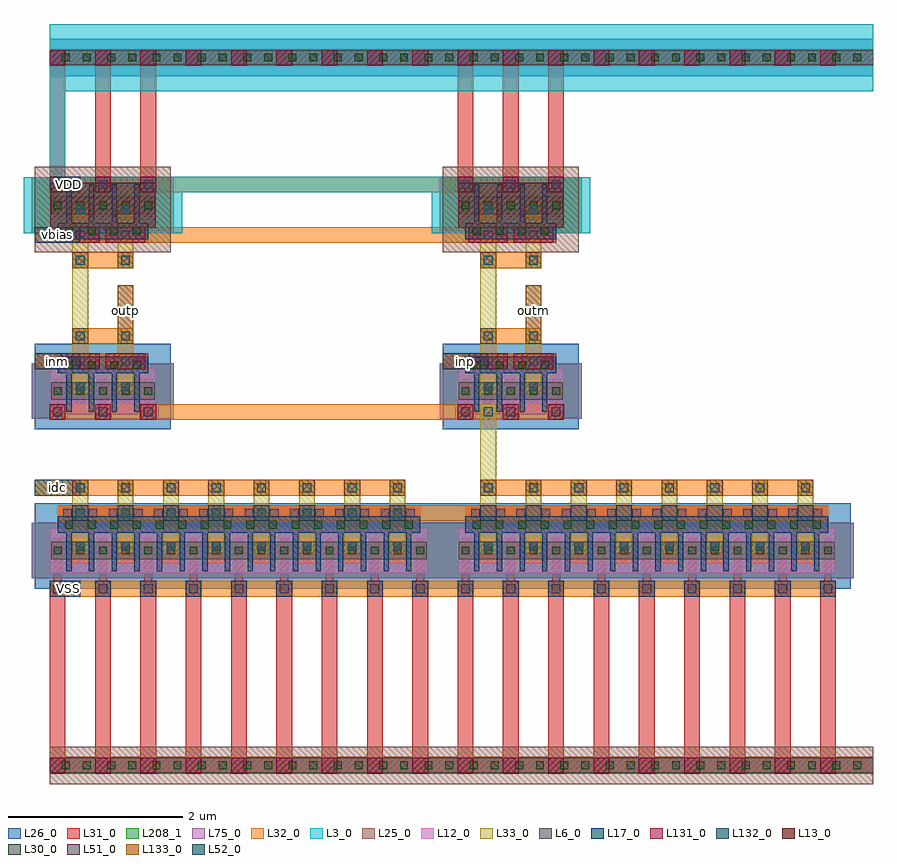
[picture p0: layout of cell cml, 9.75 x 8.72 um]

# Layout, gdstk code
import gdstk
lib = gdstk.Library(unit=1e-6, precision=1e-09)
def R(c, l, rs):  # rectangles x0, y0, x1, y1
    for r in rs: c.add(gdstk.rectangle(r[:2], r[2:], *l))
def A(c, l, x, y, w, h, nx, ny, dx, dy):  # array of equal rectangles
    R(c, l, [(x+i*dx, y+j*dy, x+i*dx+w, y+j*dy+h) for i in range(nx) for j in range(ny)])
L3_0 = (3, 0)
L6_0 = (6, 0)
L12_0 = (12, 0)
L13_0 = (13, 0)
L17_0 = (17, 0)
L25_0 = (25, 0)
L26_0 = (26, 0)
L30_0 = (30, 0)
L31_0 = (31, 0)
L32_0 = (32, 0)
L33_0 = (33, 0)
L51_0 = (51, 0)
L52_0 = (52, 0)
L75_0 = (75, 0)
L131_0 = (131, 0)
L132_0 = (132, 0)
L133_0 = (133, 0)
L208_1 = (208, 1)

nch_lvt_mac__3 = lib.new_cell('nch_lvt_mac$$3')
R(nch_lvt_mac__3, L6_0, [(-0.175,0,0,0.2), (0,0,0.06,0.2), (0.06,0,0.235,0.2)])
R(nch_lvt_mac__3, L12_0, [(-0.185,-0.16,0.245,0.36)])
R(nch_lvt_mac__3, L17_0, [(0,-0.14,0.06,0), (0,0,0.06,0.2), (0,0.2,0.06,0.3), (-0.065,0.3,0.125,0.49)])
R(nch_lvt_mac__3, L26_0, [(-0.305,-0.34,0.365,0.54), (-0.305,0.15,0.365,0.64)])
R(nch_lvt_mac__3, L30_0, [(-0.145,0.055,-0.055,0.145), (0.115,0.055,0.205,0.145), (-0.015,0.35,0.075,0.44)])
R(nch_lvt_mac__3, L31_0, [(-0.145,-0.01,-0.055,0.21), (0.115,-0.01,0.205,0.21)])
R(nch_lvt_mac__3, L75_0, [(-0.395,-0.22,0.455,0.42)])
R(nch_lvt_mac__3, L208_1, [(-0.395,-0.22,0.455,0.42)])
nch_lvt_mac__3.add(gdstk.FlexPath([(-0.065,0.395),(0.125,0.395)], 0.09, ends="flush", simple_path=True, layer=31, datatype=0))  # L31_0
nch_lvt_mac__3.add(gdstk.Label('& SerialNumber 000000', (0,0), layer=63, texttype=63))
nch_lvt_mac__3.add(gdstk.Label('& Distributor TSMC', (0,0), layer=63, texttype=63))
nch_lvt_mac__3.add(gdstk.Label('& Metric 1', (0,0), layer=63, texttype=63))
nch_lvt_mac__3.add(gdstk.Label('& PDK TechNode "CRN65LP"', (0,0), layer=63, texttype=63))
nch_lvt_mac__3.add(gdstk.Label('& Product    tsmcN65_PDK', (0,0), layer=63, texttype=63))
nch_lvt_mac__3.add(gdstk.Label('& Vendor     Taiwan Semiconductor manufacturing Corp.', (0,0), layer=63, texttype=63))
nch_lvt_mac__3.add(gdstk.Label('[@instanceName]', (0.03,0.1), layer=127, texttype=0))
nch_lvt_mac__3.add(gdstk.Label('nch_lvt_mac\n0.2/0.06\n', (0,0), layer=127, texttype=0))
nch_lvt_mac__3.add(gdstk.Label('D', (0.16,0.1), layer=127, texttype=0))
nch_lvt_mac__3.add(gdstk.Label('S', (-0.1,0.1), layer=127, texttype=0))

nch_lvt_mac__4 = lib.new_cell('nch_lvt_mac$$4')
R(nch_lvt_mac__4, L6_0, [(-0.175,0,0,0.2), (0,0,0.06,0.2), (0.06,0,0.235,0.2)])
R(nch_lvt_mac__4, L12_0, [(-0.185,-0.16,0.245,0.36)])
R(nch_lvt_mac__4, L17_0, [(0,-0.14,0.06,0), (0,0,0.06,0.2), (0,0.2,0.06,0.3), (-0.065,0.3,0.125,0.49)])
R(nch_lvt_mac__4, L26_0, [(-0.305,-0.34,0.365,0.54), (-0.305,0.15,0.365,0.64)])
R(nch_lvt_mac__4, L30_0, [(-0.145,0.055,-0.055,0.145), (0.115,0.055,0.205,0.145), (-0.015,0.35,0.075,0.44)])
R(nch_lvt_mac__4, L31_0, [(-0.145,-0.01,-0.055,0.21), (0.115,-0.01,0.205,0.21)])
R(nch_lvt_mac__4, L75_0, [(-0.395,-0.22,0.455,0.42)])
R(nch_lvt_mac__4, L208_1, [(-0.395,-0.22,0.455,0.42)])
nch_lvt_mac__4.add(gdstk.FlexPath([(-0.065,0.395),(0.125,0.395)], 0.09, ends="flush", simple_path=True, layer=31, datatype=0))  # L31_0
nch_lvt_mac__4.add(gdstk.Label('& SerialNumber 000000', (0,0), layer=63, texttype=63))
nch_lvt_mac__4.add(gdstk.Label('& Distributor TSMC', (0,0), layer=63, texttype=63))
nch_lvt_mac__4.add(gdstk.Label('& Metric 1', (0,0), layer=63, texttype=63))
nch_lvt_mac__4.add(gdstk.Label('& PDK TechNode "CRN65LP"', (0,0), layer=63, texttype=63))
nch_lvt_mac__4.add(gdstk.Label('& Product    tsmcN65_PDK', (0,0), layer=63, texttype=63))
nch_lvt_mac__4.add(gdstk.Label('& Vendor     Taiwan Semiconductor manufacturing Corp.', (0,0), layer=63, texttype=63))
nch_lvt_mac__4.add(gdstk.Label('[@instanceName]', (0.03,0.1), layer=127, texttype=0))
nch_lvt_mac__4.add(gdstk.Label('nch_lvt_mac\n0.2/0.06\n', (0,0), layer=127, texttype=0))
nch_lvt_mac__4.add(gdstk.Label('S', (0.16,0.1), layer=127, texttype=0))
nch_lvt_mac__4.add(gdstk.Label('D', (-0.1,0.1), layer=127, texttype=0))

m2_m1__1 = lib.new_cell('M2_M1$$1')
R(m2_m1__1, L31_0, [(-0.09,-0.09,0.09,0.09)])
R(m2_m1__1, L32_0, [(-0.09,-0.09,0.09,0.09)])
R(m2_m1__1, L51_0, [(-0.05,-0.05,0.05,0.05)])

m3_m2__2 = lib.new_cell('M3_M2$$2')
R(m3_m2__2, L32_0, [(-0.09,-0.09,0.09,0.09)])
R(m3_m2__2, L33_0, [(-0.09,-0.09,0.09,0.09)])
R(m3_m2__2, L52_0, [(-0.05,-0.05,0.05,0.05)])

currentmirror_ref_n = lib.new_cell('currentmirror_ref_n')
R(currentmirror_ref_n, L17_0, [(0,0.64,0.52,0.83)])
R(currentmirror_ref_n, L26_0, [(-0.26,0,-0.205,0.98), (0.725,0,0.78,0.98)])
R(currentmirror_ref_n, L31_0, [(-0.045,-0.09,0.045,0.58), (0.475,-0.09,0.565,0.58), (0.21,0.3,0.31,0.58), (0,0.69,0.52,0.96), (0,0.78,0.52,0.96)])
R(currentmirror_ref_n, L32_0, [(0,-0.09,0.52,0.09), (0.17,0.29,0.35,0.58), (0,0.78,0.52,0.96)])
R(currentmirror_ref_n, L33_0, [(0.17,0.4,0.35,1.25)])
R(currentmirror_ref_n, L132_0, [(-0.09,-0.09,0.09,0.09), (0.43,-0.09,0.61,0.09), (0.17,0.78,0.35,0.96)])
R(currentmirror_ref_n, L133_0, [(0.17,1.07,0.35,1.25)])
currentmirror_ref_n.add(gdstk.Reference(nch_lvt_mac__3, (0.1,0.34)))
currentmirror_ref_n.add(gdstk.Reference(nch_lvt_mac__4, (0.36,0.34)))
currentmirror_ref_n.add(gdstk.Reference(m2_m1__1, (0.26,0.49)))
currentmirror_ref_n.add(gdstk.Reference(m2_m1__1, (0,0)))
currentmirror_ref_n.add(gdstk.Reference(m2_m1__1, (0.52,0)))
currentmirror_ref_n.add(gdstk.Reference(m2_m1__1, (0.115,0.87)))
currentmirror_ref_n.add(gdstk.Reference(m2_m1__1, (0.405,0.87)))
currentmirror_ref_n.add(gdstk.Reference(m3_m2__2, (0.26,0.49)))
currentmirror_ref_n.add(gdstk.Reference(m3_m2__2, (0.26,0.87)))
currentmirror_ref_n.add(gdstk.Label('S1', (0.52,0), layer=132, texttype=0))
currentmirror_ref_n.add(gdstk.Label('S0', (0,0), layer=132, texttype=0))
currentmirror_ref_n.add(gdstk.Label('G', (0.26,0.87), layer=132, texttype=0))
currentmirror_ref_n.add(gdstk.Label('D', (0.26,1.16), layer=133, texttype=0))

currentmirror_single_n = lib.new_cell('currentmirror_single_n')
R(currentmirror_single_n, L17_0, [(0,0.64,0.52,0.83)])
R(currentmirror_single_n, L26_0, [(-0.26,0,-0.205,0.98), (0.725,0,0.78,0.98)])
R(currentmirror_single_n, L31_0, [(-0.045,-0.09,0.045,0.58), (0.475,-0.09,0.565,0.58), (0.21,0.3,0.31,0.58), (0,0.69,0.52,0.96), (0,0.78,0.52,0.96)])
R(currentmirror_single_n, L32_0, [(0,-0.09,0.52,0.09), (0.17,0.29,0.35,0.58), (0,0.78,0.52,0.96)])
R(currentmirror_single_n, L33_0, [(0.17,0.4,0.35,1.25)])
R(currentmirror_single_n, L132_0, [(-0.09,-0.09,0.09,0.09), (0.43,-0.09,0.61,0.09), (0.17,0.78,0.35,0.96)])
R(currentmirror_single_n, L133_0, [(0.17,1.07,0.35,1.25)])
currentmirror_single_n.add(gdstk.Reference(nch_lvt_mac__4, (0.36,0.34)))
currentmirror_single_n.add(gdstk.Reference(nch_lvt_mac__3, (0.1,0.34)))
currentmirror_single_n.add(gdstk.Reference(m2_m1__1, (0.405,0.87)))
currentmirror_single_n.add(gdstk.Reference(m2_m1__1, (0.115,0.87)))
currentmirror_single_n.add(gdstk.Reference(m2_m1__1, (0.52,0)))
currentmirror_single_n.add(gdstk.Reference(m2_m1__1, (0,0)))
currentmirror_single_n.add(gdstk.Reference(m2_m1__1, (0.26,0.49)))
currentmirror_single_n.add(gdstk.Reference(m3_m2__2, (0.26,0.49)))
currentmirror_single_n.add(gdstk.Label('S1', (0.52,0), layer=132, texttype=0))
currentmirror_single_n.add(gdstk.Label('G', (0.26,0.87), layer=132, texttype=0))
currentmirror_single_n.add(gdstk.Label('S0', (0,0), layer=132, texttype=0))
currentmirror_single_n.add(gdstk.Label('D', (0.26,1.16), layer=133, texttype=0))

diffpair_two_finger_n = lib.new_cell('diffpair_two_finger_n')
R(diffpair_two_finger_n, L17_0, [(0,0.44,0.52,0.63)])
R(diffpair_two_finger_n, L26_0, [(-0.26,-0.2,-0.205,0.78), (0.725,-0.2,0.78,0.78)])
R(diffpair_two_finger_n, L31_0, [(-0.045,-0.09,0.045,0.38), (0.475,-0.09,0.565,0.38), (0.21,0.1,0.31,0.38), (0,0.49,0.52,0.67)])
R(diffpair_two_finger_n, L32_0, [(0.115,0.2,0.405,0.38)])
R(diffpair_two_finger_n, L33_0, [(0.17,0.2,0.35,0.96)])
R(diffpair_two_finger_n, L131_0, [(-0.09,-0.09,0.09,0.09), (0.43,-0.09,0.61,0.09), (0.035,0.49,0.485,0.67)])
R(diffpair_two_finger_n, L133_0, [(0.17,0.78,0.35,0.96)])
diffpair_two_finger_n.add(gdstk.Reference(nch_lvt_mac__4, (0.36,0.14)))
diffpair_two_finger_n.add(gdstk.Reference(nch_lvt_mac__3, (0.1,0.14)))
diffpair_two_finger_n.add(gdstk.Reference(m3_m2__2, (0.26,0.29)))
diffpair_two_finger_n.add(gdstk.Reference(m2_m1__1, (0.52,0)))
diffpair_two_finger_n.add(gdstk.Reference(m2_m1__1, (0,0)))
diffpair_two_finger_n.add(gdstk.Reference(m2_m1__1, (0.26,0.29)))
diffpair_two_finger_n.add(gdstk.Label('S0', (0,0), layer=131, texttype=0))
diffpair_two_finger_n.add(gdstk.Label('S1', (0.52,0), layer=131, texttype=0))
diffpair_two_finger_n.add(gdstk.Label('G', (0.26,0.58), layer=131, texttype=0))
diffpair_two_finger_n.add(gdstk.Label('D', (0.26,0.87), layer=133, texttype=0))

pch_lvt_mac__5 = lib.new_cell('pch_lvt_mac$$5')
R(pch_lvt_mac__5, L3_0, [(-0.395,-0.22,0.455,0.42)])
R(pch_lvt_mac__5, L6_0, [(-0.175,0,0,0.2), (0,0,0.06,0.2), (0.06,0,0.235,0.2)])
R(pch_lvt_mac__5, L13_0, [(-0.185,-0.16,0.245,0.36)])
R(pch_lvt_mac__5, L17_0, [(-0.065,-0.29,0.125,-0.1), (0,-0.1,0.06,0), (0,0,0.06,0.2), (0,0.2,0.06,0.34)])
R(pch_lvt_mac__5, L25_0, [(-0.305,-0.44,0.365,0.05), (-0.305,-0.34,0.365,0.54)])
R(pch_lvt_mac__5, L30_0, [(-0.015,-0.24,0.075,-0.15), (-0.145,0.055,-0.055,0.145), (0.115,0.055,0.205,0.145)])
R(pch_lvt_mac__5, L31_0, [(-0.145,-0.01,-0.055,0.21), (0.115,-0.01,0.205,0.21)])
R(pch_lvt_mac__5, L208_1, [(-0.395,-0.22,0.455,0.42)])
pch_lvt_mac__5.add(gdstk.FlexPath([(-0.065,-0.195),(0.125,-0.195)], 0.09, ends="flush", simple_path=True, layer=31, datatype=0))  # L31_0
pch_lvt_mac__5.add(gdstk.Label('& SerialNumber 000000', (0,0), layer=63, texttype=63))
pch_lvt_mac__5.add(gdstk.Label('& Distributor TSMC', (0,0), layer=63, texttype=63))
pch_lvt_mac__5.add(gdstk.Label('& Metric 1', (0,0), layer=63, texttype=63))
pch_lvt_mac__5.add(gdstk.Label('& PDK TechNode "CRN65LP"', (0,0), layer=63, texttype=63))
pch_lvt_mac__5.add(gdstk.Label('& Product    tsmcN65_PDK', (0,0), layer=63, texttype=63))
pch_lvt_mac__5.add(gdstk.Label('& Vendor     Taiwan Semiconductor manufacturing Corp.', (0,0), layer=63, texttype=63))
pch_lvt_mac__5.add(gdstk.Label('[@instanceName]', (0.03,0.1), layer=127, texttype=0))
pch_lvt_mac__5.add(gdstk.Label('pch_lvt_mac\n0.2/0.06\n', (0,0), layer=127, texttype=0))
pch_lvt_mac__5.add(gdstk.Label('S', (0.16,0.1), layer=127, texttype=0))
pch_lvt_mac__5.add(gdstk.Label('D', (-0.1,0.1), layer=127, texttype=0))

pch_lvt_mac__6 = lib.new_cell('pch_lvt_mac$$6')
R(pch_lvt_mac__6, L3_0, [(-0.395,-0.22,0.455,0.42)])
R(pch_lvt_mac__6, L6_0, [(-0.175,0,0,0.2), (0,0,0.06,0.2), (0.06,0,0.235,0.2)])
R(pch_lvt_mac__6, L13_0, [(-0.185,-0.16,0.245,0.36)])
R(pch_lvt_mac__6, L17_0, [(-0.065,-0.29,0.125,-0.1), (0,-0.1,0.06,0), (0,0,0.06,0.2), (0,0.2,0.06,0.34)])
R(pch_lvt_mac__6, L25_0, [(-0.305,-0.44,0.365,0.05), (-0.305,-0.34,0.365,0.54)])
R(pch_lvt_mac__6, L30_0, [(-0.015,-0.24,0.075,-0.15), (-0.145,0.055,-0.055,0.145), (0.115,0.055,0.205,0.145)])
R(pch_lvt_mac__6, L31_0, [(-0.145,-0.01,-0.055,0.21), (0.115,-0.01,0.205,0.21)])
R(pch_lvt_mac__6, L208_1, [(-0.395,-0.22,0.455,0.42)])
pch_lvt_mac__6.add(gdstk.FlexPath([(-0.065,-0.195),(0.125,-0.195)], 0.09, ends="flush", simple_path=True, layer=31, datatype=0))  # L31_0
pch_lvt_mac__6.add(gdstk.Label('& SerialNumber 000000', (0,0), layer=63, texttype=63))
pch_lvt_mac__6.add(gdstk.Label('& Distributor TSMC', (0,0), layer=63, texttype=63))
pch_lvt_mac__6.add(gdstk.Label('& Metric 1', (0,0), layer=63, texttype=63))
pch_lvt_mac__6.add(gdstk.Label('& PDK TechNode "CRN65LP"', (0,0), layer=63, texttype=63))
pch_lvt_mac__6.add(gdstk.Label('& Product    tsmcN65_PDK', (0,0), layer=63, texttype=63))
pch_lvt_mac__6.add(gdstk.Label('& Vendor     Taiwan Semiconductor manufacturing Corp.', (0,0), layer=63, texttype=63))
pch_lvt_mac__6.add(gdstk.Label('[@instanceName]', (0.03,0.1), layer=127, texttype=0))
pch_lvt_mac__6.add(gdstk.Label('pch_lvt_mac\n0.2/0.06\n', (0,0), layer=127, texttype=0))
pch_lvt_mac__6.add(gdstk.Label('D', (0.16,0.1), layer=127, texttype=0))
pch_lvt_mac__6.add(gdstk.Label('S', (-0.1,0.1), layer=127, texttype=0))

activeload_two_finger_p = lib.new_cell('activeload_two_finger_p')
R(activeload_two_finger_p, L3_0, [(-0.39,0.02,-0.295,0.66), (0.815,0.02,0.91,0.66)])
R(activeload_two_finger_p, L17_0, [(0,-0.05,0.52,0.14)])
R(activeload_two_finger_p, L25_0, [(-0.26,-0.2,-0.205,0.78), (0.725,-0.2,0.78,0.78)])
R(activeload_two_finger_p, L31_0, [(0,-0.09,0.52,0.09), (-0.045,0.2,0.045,0.67), (0.21,0.2,0.31,0.48), (0.475,0.2,0.565,0.67)])
R(activeload_two_finger_p, L32_0, [(0.115,0.2,0.405,0.38)])
R(activeload_two_finger_p, L33_0, [(0.17,-0.38,0.35,0.38)])
R(activeload_two_finger_p, L131_0, [(0.035,-0.09,0.485,0.09), (-0.09,0.49,0.09,0.67), (0.43,0.49,0.61,0.67)])
R(activeload_two_finger_p, L133_0, [(0.17,-0.38,0.35,-0.2)])
activeload_two_finger_p.add(gdstk.Reference(pch_lvt_mac__5, (0.36,0.24)))
activeload_two_finger_p.add(gdstk.Reference(pch_lvt_mac__6, (0.1,0.24)))
activeload_two_finger_p.add(gdstk.Reference(m3_m2__2, (0.26,0.29), x_reflection=True))
activeload_two_finger_p.add(gdstk.Reference(m2_m1__1, (0.52,0.58), x_reflection=True))
activeload_two_finger_p.add(gdstk.Reference(m2_m1__1, (0,0.58), x_reflection=True))
activeload_two_finger_p.add(gdstk.Reference(m2_m1__1, (0.26,0.29), x_reflection=True))
activeload_two_finger_p.add(gdstk.Label('S0', (0,0.58), layer=131, texttype=0))
activeload_two_finger_p.add(gdstk.Label('S1', (0.52,0.58), layer=131, texttype=0))
activeload_two_finger_p.add(gdstk.Label('G', (0.26,0), layer=131, texttype=0))
activeload_two_finger_p.add(gdstk.Label('D', (0.26,-0.29), layer=133, texttype=0))

guard_ring_nwell = lib.new_cell('guard_ring_nwell')
R(guard_ring_nwell, L3_0, [(-0.09,-0.38,0.52,0.39)])
R(guard_ring_nwell, L30_0, [(0.05,-0.04,0.14,0.05), (0.29,-0.04,0.38,0.05)])
R(guard_ring_nwell, L131_0, [(-0.09,-0.09,0.09,0.09)])
guard_ring_nwell.add(gdstk.FlexPath([(0.435,0.005),(-0.005,0.005)], 0.17, ends="extended", simple_path=True, layer=6, datatype=0))  # L6_0
guard_ring_nwell.add(gdstk.FlexPath([(0.305,0.005),(0.125,0.005)], 0.43, ends="extended", simple_path=True, layer=26, datatype=0))  # L26_0
guard_ring_nwell.add(gdstk.FlexPath([(0.425,0.005),(0.005,0.005)], 0.19, ends="extended", simple_path=True, layer=31, datatype=0))  # L31_0
guard_ring_nwell.add(gdstk.Label('nwell', (0,0), layer=131, texttype=0))

guard_ring_psub = lib.new_cell('guard_ring_psub')
R(guard_ring_psub, L30_0, [(0.05,-0.04,0.14,0.05), (0.29,-0.04,0.38,0.05)])
R(guard_ring_psub, L131_0, [(-0.09,-0.09,0.09,0.09)])
guard_ring_psub.add(gdstk.FlexPath([(0.305,0.005),(0.125,0.005)], 0.43, ends="extended", simple_path=True, layer=25, datatype=0))  # L25_0
guard_ring_psub.add(gdstk.FlexPath([(0.425,0.005),(0.005,0.005)], 0.19, ends="extended", simple_path=True, layer=31, datatype=0))  # L31_0
guard_ring_psub.add(gdstk.FlexPath([(0.435,0.005),(-0.005,0.005)], 0.17, ends="extended", simple_path=True, layer=6, datatype=0))  # L6_0
guard_ring_psub.add(gdstk.Label('psub', (0,0), layer=131, texttype=0))

via_m2_m3_0 = lib.new_cell('via_M2_M3_0')
R(via_m2_m3_0, L32_0, [(-0.09,-0.09,0.09,0.09)])
R(via_m2_m3_0, L33_0, [(-0.09,-0.09,0.09,0.09)])
via_m2_m3_0.add(gdstk.Reference(m3_m2__2, (0,0)))

via_m1_m2_0 = lib.new_cell('via_M1_M2_0')
R(via_m1_m2_0, L31_0, [(-0.09,-0.09,0.09,0.09)])
R(via_m1_m2_0, L32_0, [(-0.09,-0.09,0.09,0.09)])
via_m1_m2_0.add(gdstk.Reference(m2_m1__1, (0,0)))

cml = lib.new_cell('cml')
R(cml, L3_0, [(0,4.55,5.72,4.73), (-0.09,4.64,0.09,6.09)])
A(cml, L31_0, 3.55, -2.03, 0.18, 2.03, 4, 1, 0.52, 0)
R(cml, L31_0, [(-0.09,-2.03,0.09,0), (0.43,-2.03,0.61,0), (0.43,-2.03,0.61,0), (0.95,-2.03,1.13,0), (0.95,-2.03,1.13,0), (1.47,-2.03,1.65,0), (1.47,-2.03,1.65,0), (1.99,-2.03,2.17,0), (1.99,-2.03,2.17,0), (2.51,-2.03,2.69,0), (2.51,-2.03,2.69,0), (3.03,-2.03,3.21,0), (3.03,-2.03,3.21,0), (3.55,-2.03,3.73,0), (5.11,-2.03,5.29,0), (5.63,-2.03,5.81,0), (5.63,-2.03,5.81,0), (6.15,-2.03,6.33,0), (6.15,-2.03,6.33,0), (6.67,-2.03,6.85,0), (6.67,-2.03,6.85,0), (7.19,-2.03,7.37,0), (7.19,-2.03,7.37,0), (7.71,-2.03,7.89,0), (7.71,-2.03,7.89,0), (8.23,-2.03,8.41,0), (8.23,-2.03,8.41,0), (8.75,-2.03,8.93,0), (-0.09,4.64,0.09,6.09), (0.43,4.64,0.61,6.09), (0.43,4.64,0.61,6.09), (0.95,4.64,1.13,6.09), (4.59,4.64,4.77,6.09), (5.11,4.64,5.29,6.09), (5.11,4.64,5.29,6.09), (5.63,4.64,5.81,6.09)])
A(cml, L32_0, -0.26, 1.07, 0.52, 0.18, 8, 1, 0.52, 0)
A(cml, L32_0, 4.94, 1.07, 0.52, 0.18, 7, 1, 0.52, 0)
R(cml, L32_0, [(0,-0.09,0.26,0.09), (0,-0.09,0.26,0.09), (0,-0.09,8.84,0.09), (0.26,0.78,8.58,0.96), (-0.26,1.07,0.26,1.25), (0,1.94,5.72,2.12), (-0.26,2.52,0.26,2.7), (-0.26,2.52,0.26,2.7), (0.26,2.52,0.78,2.7), (4.42,2.52,4.94,2.7), (4.42,2.52,4.94,2.7), (4.94,2.52,5.46,2.7), (0.26,2.81,0.78,2.99), (4.94,2.81,5.46,2.99), (0.26,3.68,0.78,3.86), (4.94,3.68,5.46,3.86), (-0.26,3.97,0.26,4.15), (-0.26,3.97,0.26,4.15), (0.26,3.97,0.78,4.15), (0.78,3.97,4.94,4.15), (4.94,3.97,5.46,4.15), (0,4.55,0.26,4.73), (0,4.55,0.26,4.73), (0,4.55,5.72,4.73)])
R(cml, L33_0, [(4.85,1.16,5.03,2.03), (0.17,2.9,0.35,3.77), (0.69,2.9,0.87,3.48), (0.69,2.9,0.87,3.48), (4.85,2.9,5.03,3.77), (5.37,2.9,5.55,3.48), (5.37,2.9,5.55,3.48)])
A(cml, L132_0, -0.26, 1.07, 0.52, 0.18, 1, 3, 0, 1.45)
R(cml, L132_0, [(0,-0.09,0.26,0.09), (4.42,2.52,4.94,2.7), (0,4.55,0.26,4.73)])
R(cml, L133_0, [(0.69,2.9,0.87,3.48), (5.37,2.9,5.55,3.48)])
cml.add(gdstk.Reference(currentmirror_ref_n, (3.64,0)))
cml.add(gdstk.Reference(currentmirror_ref_n, (3.12,0)))
cml.add(gdstk.Reference(currentmirror_ref_n, (2.6,0)))
cml.add(gdstk.Reference(currentmirror_ref_n, (2.08,0)))
cml.add(gdstk.Reference(currentmirror_ref_n, (1.56,0)))
cml.add(gdstk.Reference(currentmirror_ref_n, (1.04,0)))
cml.add(gdstk.Reference(currentmirror_ref_n, (0.52,0)))
cml.add(gdstk.Reference(currentmirror_ref_n, (0,0)))
cml.add(gdstk.Reference(currentmirror_single_n, (8.32,0)))
cml.add(gdstk.Reference(currentmirror_single_n, (7.8,0)))
cml.add(gdstk.Reference(currentmirror_single_n, (7.28,0)))
cml.add(gdstk.Reference(currentmirror_single_n, (6.76,0)))
cml.add(gdstk.Reference(currentmirror_single_n, (6.24,0)))
cml.add(gdstk.Reference(currentmirror_single_n, (5.72,0)))
cml.add(gdstk.Reference(currentmirror_single_n, (5.2,0)))
cml.add(gdstk.Reference(currentmirror_single_n, (4.68,0)))
cml.add(gdstk.Reference(diffpair_two_finger_n, (5.2,2.03)))
cml.add(gdstk.Reference(diffpair_two_finger_n, (4.68,2.03)))
cml.add(gdstk.Reference(diffpair_two_finger_n, (0.52,2.03)))
cml.add(gdstk.Reference(diffpair_two_finger_n, (0,2.03)))
cml.add(gdstk.Reference(activeload_two_finger_p, (5.2,4.06)))
cml.add(gdstk.Reference(activeload_two_finger_p, (4.68,4.06)))
cml.add(gdstk.Reference(activeload_two_finger_p, (0.52,4.06)))
cml.add(gdstk.Reference(activeload_two_finger_p, (0,4.06)))
cml.add(gdstk.Reference(guard_ring_nwell, (8.84,6.09)))
cml.add(gdstk.Reference(guard_ring_nwell, (8.32,6.09)))
cml.add(gdstk.Reference(guard_ring_nwell, (7.8,6.09)))
cml.add(gdstk.Reference(guard_ring_nwell, (7.28,6.09)))
cml.add(gdstk.Reference(guard_ring_nwell, (6.76,6.09)))
cml.add(gdstk.Reference(guard_ring_nwell, (6.24,6.09)))
cml.add(gdstk.Reference(guard_ring_nwell, (5.72,6.09)))
cml.add(gdstk.Reference(guard_ring_nwell, (5.2,6.09)))
cml.add(gdstk.Reference(guard_ring_nwell, (4.68,6.09)))
cml.add(gdstk.Reference(guard_ring_nwell, (4.16,6.09)))
cml.add(gdstk.Reference(guard_ring_nwell, (3.64,6.09)))
cml.add(gdstk.Reference(guard_ring_nwell, (3.12,6.09)))
cml.add(gdstk.Reference(guard_ring_nwell, (2.6,6.09)))
cml.add(gdstk.Reference(guard_ring_nwell, (2.08,6.09)))
cml.add(gdstk.Reference(guard_ring_nwell, (1.56,6.09)))
cml.add(gdstk.Reference(guard_ring_nwell, (1.04,6.09)))
cml.add(gdstk.Reference(guard_ring_nwell, (0.52,6.09)))
cml.add(gdstk.Reference(guard_ring_nwell, (0,6.09)))
cml.add(gdstk.Reference(guard_ring_psub, (8.84,-2.03)))
cml.add(gdstk.Reference(guard_ring_psub, (8.32,-2.03)))
cml.add(gdstk.Reference(guard_ring_psub, (7.8,-2.03)))
cml.add(gdstk.Reference(guard_ring_psub, (7.28,-2.03)))
cml.add(gdstk.Reference(guard_ring_psub, (6.76,-2.03)))
cml.add(gdstk.Reference(guard_ring_psub, (6.24,-2.03)))
cml.add(gdstk.Reference(guard_ring_psub, (5.72,-2.03)))
cml.add(gdstk.Reference(guard_ring_psub, (5.2,-2.03)))
cml.add(gdstk.Reference(guard_ring_psub, (4.68,-2.03)))
cml.add(gdstk.Reference(guard_ring_psub, (4.16,-2.03)))
cml.add(gdstk.Reference(guard_ring_psub, (3.64,-2.03)))
cml.add(gdstk.Reference(guard_ring_psub, (3.12,-2.03)))
cml.add(gdstk.Reference(guard_ring_psub, (2.6,-2.03)))
cml.add(gdstk.Reference(guard_ring_psub, (2.08,-2.03)))
cml.add(gdstk.Reference(guard_ring_psub, (1.56,-2.03)))
cml.add(gdstk.Reference(guard_ring_psub, (1.04,-2.03)))
cml.add(gdstk.Reference(guard_ring_psub, (0.52,-2.03)))
cml.add(gdstk.Reference(guard_ring_psub, (0,-2.03)))
cml.add(gdstk.Reference(via_m2_m3_0, (5.46,3.77)))
cml.add(gdstk.Reference(via_m2_m3_0, (4.94,3.77)))
cml.add(gdstk.Reference(via_m2_m3_0, (0.78,3.77)))
cml.add(gdstk.Reference(via_m2_m3_0, (0.26,3.77)))
cml.add(gdstk.Reference(via_m2_m3_0, (4.94,2.03)))
cml.add(gdstk.Reference(via_m2_m3_0, (5.46,2.9)))
cml.add(gdstk.Reference(via_m2_m3_0, (4.94,2.9)))
cml.add(gdstk.Reference(via_m2_m3_0, (0.78,2.9)))
cml.add(gdstk.Reference(via_m2_m3_0, (0.26,2.9)))
cml.add(gdstk.Reference(via_m2_m3_0, (5.46,2.9)))
cml.add(gdstk.Reference(via_m2_m3_0, (0.78,2.9)))
cml.add(gdstk.Reference(via_m2_m3_0, (8.58,1.16)))
cml.add(gdstk.Reference(via_m2_m3_0, (8.06,1.16)))
cml.add(gdstk.Reference(via_m2_m3_0, (8.06,1.16)))
cml.add(gdstk.Reference(via_m2_m3_0, (7.54,1.16)))
cml.add(gdstk.Reference(via_m2_m3_0, (7.54,1.16)))
cml.add(gdstk.Reference(via_m2_m3_0, (7.02,1.16)))
cml.add(gdstk.Reference(via_m2_m3_0, (7.02,1.16)))
cml.add(gdstk.Reference(via_m2_m3_0, (6.5,1.16)))
cml.add(gdstk.Reference(via_m2_m3_0, (6.5,1.16)))
cml.add(gdstk.Reference(via_m2_m3_0, (5.98,1.16)))
cml.add(gdstk.Reference(via_m2_m3_0, (5.98,1.16)))
cml.add(gdstk.Reference(via_m2_m3_0, (5.46,1.16)))
cml.add(gdstk.Reference(via_m2_m3_0, (5.46,1.16)))
cml.add(gdstk.Reference(via_m2_m3_0, (4.94,1.16)))
cml.add(gdstk.Reference(via_m2_m3_0, (3.9,1.16)))
cml.add(gdstk.Reference(via_m2_m3_0, (3.38,1.16)))
cml.add(gdstk.Reference(via_m2_m3_0, (3.38,1.16)))
cml.add(gdstk.Reference(via_m2_m3_0, (2.86,1.16)))
cml.add(gdstk.Reference(via_m2_m3_0, (2.86,1.16)))
cml.add(gdstk.Reference(via_m2_m3_0, (2.34,1.16)))
cml.add(gdstk.Reference(via_m2_m3_0, (2.34,1.16)))
cml.add(gdstk.Reference(via_m2_m3_0, (1.82,1.16)))
cml.add(gdstk.Reference(via_m2_m3_0, (1.82,1.16)))
cml.add(gdstk.Reference(via_m2_m3_0, (1.3,1.16)))
cml.add(gdstk.Reference(via_m2_m3_0, (1.3,1.16)))
cml.add(gdstk.Reference(via_m2_m3_0, (0.78,1.16)))
cml.add(gdstk.Reference(via_m2_m3_0, (0.78,1.16)))
cml.add(gdstk.Reference(via_m2_m3_0, (0.26,1.16)))
cml.add(gdstk.Reference(via_m2_m3_0, (0.26,1.16)))
cml.add(gdstk.Reference(via_m1_m2_0, (5.46,4.06)))
cml.add(gdstk.Reference(via_m1_m2_0, (4.94,4.06)))
cml.add(gdstk.Reference(via_m1_m2_0, (4.94,4.06)))
cml.add(gdstk.Reference(via_m1_m2_0, (0.78,4.06)))
cml.add(gdstk.Reference(via_m1_m2_0, (0.78,4.06)))
cml.add(gdstk.Reference(via_m1_m2_0, (0.26,4.06)))
cml.add(gdstk.Reference(via_m1_m2_0, (0.26,4.06)))
cml.add(gdstk.Reference(via_m1_m2_0, (5.46,2.61)))
cml.add(gdstk.Reference(via_m1_m2_0, (4.94,2.61)))
cml.add(gdstk.Reference(via_m1_m2_0, (0.78,2.61)))
cml.add(gdstk.Reference(via_m1_m2_0, (0.26,2.61)))
cml.add(gdstk.Reference(via_m1_m2_0, (4.94,2.61)))
cml.add(gdstk.Reference(via_m1_m2_0, (0.26,2.61)))
cml.add(gdstk.Label('VDD', (0.13,4.64), layer=132, texttype=0))
cml.add(gdstk.Label('inm', (0,2.61), layer=132, texttype=0))
cml.add(gdstk.Label('inp', (4.68,2.61), layer=132, texttype=0))
cml.add(gdstk.Label('VSS', (0.13,0), layer=132, texttype=0))
cml.add(gdstk.Label('vbias', (0,4.06), layer=132, texttype=0))
cml.add(gdstk.Label('idc', (0,1.16), layer=132, texttype=0))
cml.add(gdstk.Label('outm', (5.46,3.19), layer=133, texttype=0))
cml.add(gdstk.Label('outp', (0.78,3.19), layer=133, texttype=0))

lib.write_gds('cml.gds')
